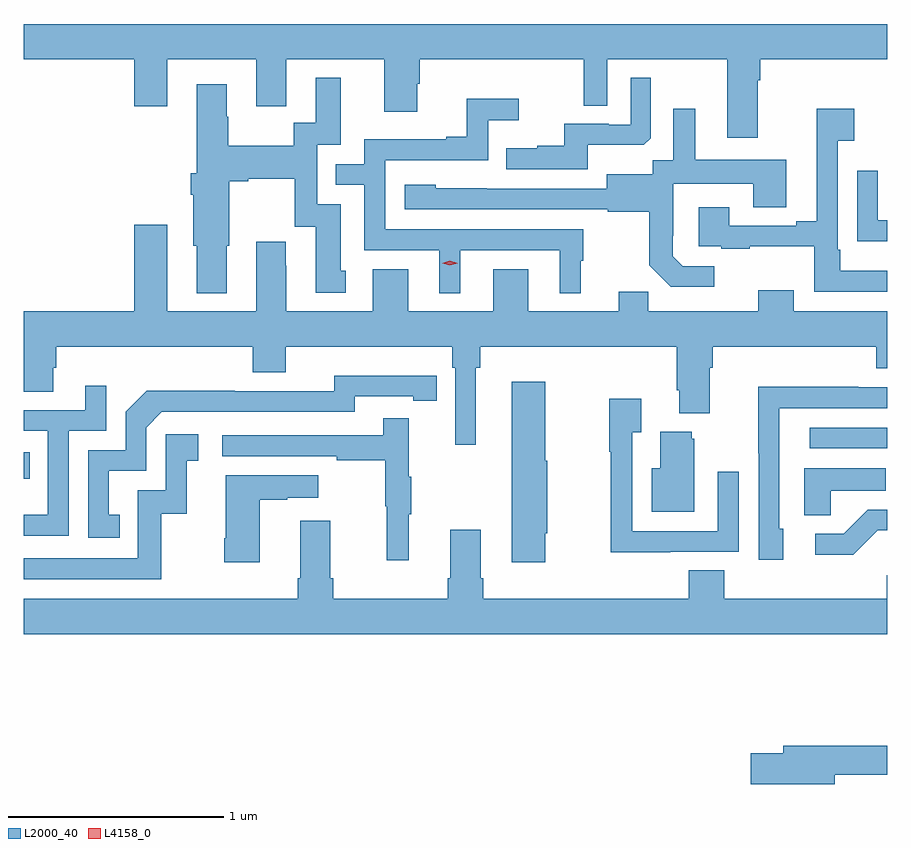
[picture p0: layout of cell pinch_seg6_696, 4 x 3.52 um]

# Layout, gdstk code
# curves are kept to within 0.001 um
import gdstk
lib = gdstk.Library(unit=1e-6, precision=1e-09)
def R(c, l, rs):  # rectangles x0, y0, x1, y1
    for r in rs: c.add(gdstk.rectangle(r[:2], r[2:], *l))
def P(c, l, *ps):  # polygons
    for p in ps: c.add(gdstk.Polygon(p, *l))
L2000_40 = (2000, 40)
L4158_0 = (4158, 0)

pinch_seg6_696 = lib.new_cell('pinch_seg6_696')
R(pinch_seg6_696, L2000_40, [(420.153,924.081,420.179,924.204), (423.795,924.222,424.153,924.318)])
P(pinch_seg6_696, L2000_40, [(423.553,925.928),(423.566,925.928),(423.566,926.024),(424.153,926.024),(424.153,926.188),(420.153,926.188),(420.153,926.024),(420.665,926.024),(420.665,925.806),(420.817,925.806),(420.817,926.024),(421.229,926.024),(421.229,925.806),(421.369,925.806),(421.369,926.024),(421.823,926.024),(421.823,925.782),(421.975,925.782),(421.975,925.911),(421.988,925.911),(421.988,926.024),(422.748,926.024),(422.748,925.81),(422.856,925.81),(422.856,926.024),(423.413,926.024),(423.413,925.662),(423.553,925.662)],
  [(421.093,925.161),(421.104,925.161),(421.104,925.46),(421.192,925.46),(421.192,925.472),(421.409,925.472),(421.409,925.248),(421.505,925.248),(421.505,924.942),(421.645,924.942),(421.645,925.044),(421.621,925.044),(421.621,925.353),(421.512,925.353),(421.512,925.629),(421.621,925.629),(421.621,925.939),(421.505,925.939),(421.505,925.73),(421.404,925.73),(421.404,925.624),(421.101,925.624),(421.101,925.758),(421.093,925.758),(421.093,925.909),(420.953,925.909),(420.953,925.497),(420.926,925.497),(420.926,925.397),(420.938,925.397),(420.938,925.161),(420.953,925.161),(420.953,924.941),(421.093,924.941)],
  [(422.767,925.628),(423.025,925.628),(423.057,925.659),(423.057,925.939),(422.964,925.939),(422.964,925.722),(422.864,925.722),(422.864,925.725),(422.657,925.725),(422.657,925.624),(422.533,925.624),(422.533,925.612),(422.389,925.612),(422.389,925.515),(422.767,925.515)],
  [(422.176,925.14),(422.636,925.14),(422.636,924.941),(422.734,924.941),(422.734,925.092),(422.746,925.092),(422.746,925.236),(421.827,925.236),(421.827,925.557),(422.304,925.557),(422.304,925.742),(422.446,925.742),(422.446,925.841),(422.206,925.841),(422.206,925.666),(422.111,925.666),(422.111,925.653),(421.731,925.653),(421.731,925.539),(421.597,925.539),(421.597,925.443),(421.731,925.443),(421.731,925.14),(422.078,925.14),(422.078,924.941),(422.176,924.941)],
  [(424.153,925.045),(423.937,925.045),(423.937,925.141),(423.924,925.141),(423.924,925.646),(424,925.646),(424,925.795),(423.827,925.795),(423.827,925.273),(423.731,925.273),(423.731,925.254),(423.421,925.254),(423.421,925.339),(423.281,925.339),(423.281,925.158),(423.385,925.158),(423.385,925.146),(423.517,925.146),(423.517,925.157),(423.816,925.157),(423.816,924.948),(424.153,924.948)],
  [(423.352,925.065),(423.207,925.065),(423.16,925.112),(423.16,925.207),(423.162,925.207),(423.162,925.448),(423.533,925.448),(423.533,925.339),(423.685,925.339),(423.685,925.558),(423.265,925.558),(423.265,925.795),(423.161,925.795),(423.161,925.556),(423.066,925.556),(423.066,925.492),(422.855,925.492),(422.855,925.425),(422.061,925.426),(422.061,925.444),(421.917,925.444),(421.917,925.329),(422.859,925.329),(422.859,925.317),(423.051,925.317),(423.051,925.071),(423.151,924.971),(423.352,924.971)],
  [(424.153,925.278),(424.11,925.278),(424.11,925.507),(424.014,925.507),(424.014,925.181),(424.153,925.181)],
  [(422.248,924.596),(422.267,924.596),(422.267,924.692),(423.179,924.692),(423.179,924.49),(423.191,924.49),(423.191,924.383),(423.331,924.383),(423.331,924.596),(423.344,924.596),(423.344,924.692),(424.103,924.692),(424.103,924.593),(424.153,924.593),(424.153,924.856),(423.721,924.856),(423.721,924.955),(423.557,924.955),(423.557,924.856),(423.047,924.856),(423.047,924.947),(422.909,924.947),(422.909,924.856),(422.491,924.856),(422.491,925.051),(422.327,925.051),(422.327,924.856),(421.933,924.856),(421.933,925.051),(421.769,925.051),(421.769,924.856),(421.369,924.856),(421.369,925.067),(421.366,925.067),(421.366,925.18),(421.229,925.18),(421.229,924.856),(420.817,924.856),(420.817,925.258),(420.665,925.258),(420.665,924.856),(420.153,924.856),(420.153,924.484),(420.289,924.484),(420.289,924.594),(420.302,924.594),(420.302,924.692),(421.214,924.692),(421.214,924.575),(421.366,924.575),(421.366,924.692),(422.138,924.692),(422.138,924.596),(422.151,924.596),(422.151,924.237),(422.248,924.237)],
  [(420.596,923.913),(420.547,923.913),(420.547,924.117),(420.72,924.117),(420.72,924.318),(420.792,924.39),(421.686,924.39),(421.686,924.462),(421.958,924.462),(421.958,924.442),(422.066,924.442),(422.066,924.558),(421.59,924.559),(421.59,924.486),(421.13,924.486),(421.13,924.488),(420.722,924.488),(420.624,924.39),(420.624,924.213),(420.45,924.213),(420.45,923.808),(420.596,923.808)],
  [(422.568,923.829),(422.578,923.829),(422.578,924.165),(422.568,924.165),(422.568,924.529),(422.414,924.529),(422.414,923.694),(422.568,923.694)],
  [(420.36,924.303),(420.534,924.303),(420.534,924.511),(420.437,924.511),(420.437,924.399),(420.153,924.399),(420.153,924.303),(420.264,924.303),(420.264,923.914),(420.153,923.914),(420.153,923.817),(420.36,923.817)],
  [(423.673,923.85),(423.654,923.85),(423.654,924.408),(424.153,924.408),(424.153,924.504),(424.019,924.504),(424.019,924.506),(423.556,924.506),(423.556,924.199),(423.558,924.199),(423.558,923.706),(423.673,923.706)],
  [(423.149,923.742),(423.465,923.742),(423.465,924.112),(423.369,924.112),(423.369,923.838),(422.973,923.838),(422.973,924.295),(423.013,924.295),(423.013,924.451),(422.865,924.451),(422.865,924.206),(422.872,924.206),(422.872,923.741),(423.149,923.741)],
  [(421.937,923.915),(421.948,923.915),(421.948,924.089),(421.937,924.089),(421.937,924.361),(421.819,924.361),(421.819,924.282),(421.071,924.282),(421.071,924.186),(421.603,924.186),(421.603,924.166),(421.827,924.166),(421.827,923.952),(421.834,923.952),(421.834,923.703),(421.937,923.703)],
  [(423.259,924.267),(423.248,924.267),(423.248,924.298),(423.101,924.298),(423.101,924.13),(423.062,924.13),(423.062,923.927),(423.259,923.927)],
  [(420.79,923.919),(420.908,923.919),(420.908,924.165),(420.961,924.165),(420.961,924.286),(420.81,924.286),(420.81,924.027),(420.681,924.027),(420.681,923.712),(420.153,923.712),(420.153,923.616),(420.79,923.616)],
  [(423.891,924.026),(424.148,924.026),(424.148,924.13),(423.77,924.13),(423.77,923.911),(423.891,923.911)],
  [(421.246,923.983),(421.373,923.983),(421.373,923.993),(421.516,923.993),(421.516,924.097),(421.088,924.097),(421.088,923.806),(421.081,923.806),(421.081,923.694),(421.246,923.694)],
  [(424.11,923.841),(424.153,923.841),(424.153,923.937),(424.064,923.937),(423.953,923.826),(423.819,923.826),(423.819,923.729),(423.997,923.729)],
  [(424.153,923.633),(424.151,923.633),(424.151,923.524),(423.398,923.524),(423.398,923.657),(423.233,923.657),(423.233,923.524),(422.282,923.524),(422.282,923.62),(422.269,923.62),(422.269,923.845),(422.129,923.845),(422.129,923.62),(422.117,923.62),(422.117,923.524),(421.586,923.524),(421.586,923.62),(421.573,923.62),(421.573,923.887),(421.433,923.887),(421.433,923.62),(421.421,923.62),(421.421,923.524),(420.153,923.524),(420.153,923.36),(424.153,923.36)],
  [(423.91,922.708),(424.153,922.708),(424.153,922.844),(423.671,922.844),(423.671,922.808),(423.522,922.808),(423.522,922.666),(423.91,922.666)])
P(pinch_seg6_696, L4158_0, [(422.127,925.07),(422.091,925.08),(422.091,925.08),(422.091,925.08),(422.127,925.09),(422.163,925.08),(422.163,925.08),(422.163,925.08)])

lib.write_gds('pinch_seg6_696.gds')
